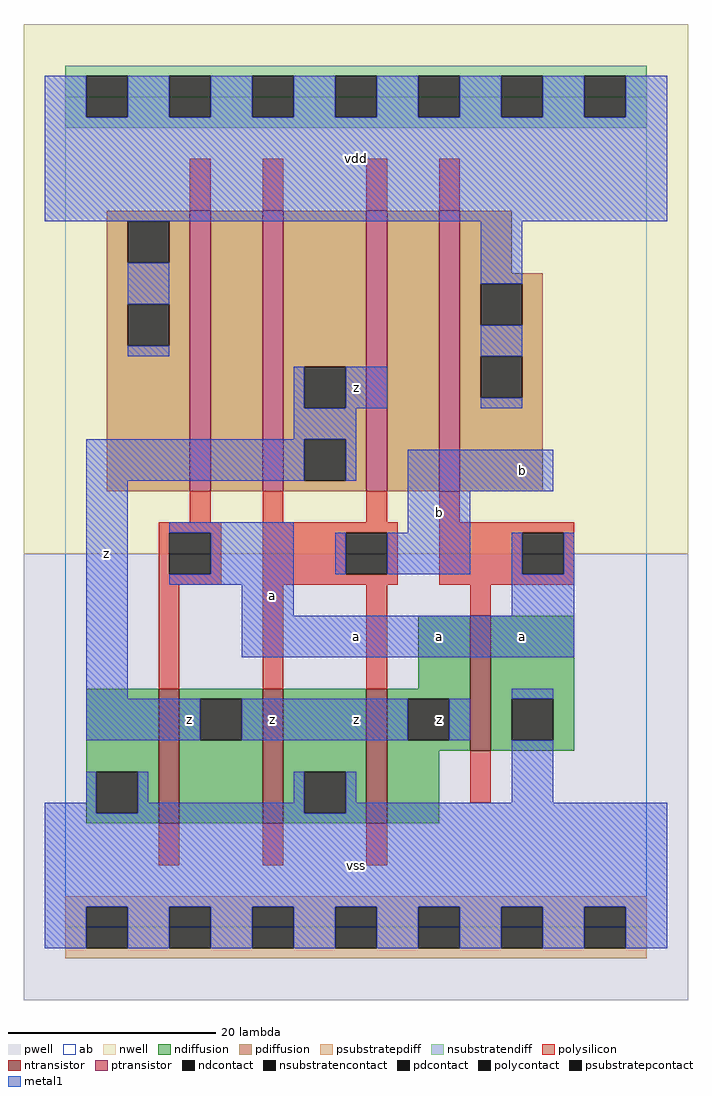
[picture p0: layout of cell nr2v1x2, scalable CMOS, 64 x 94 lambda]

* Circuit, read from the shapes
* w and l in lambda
.subckt nr2v1x2 a b vdd vss z
M1 z a vss vss nfet w=13 l=2 m=2
M2 vss b z vss nfet w=13 l=2 m=2
M3 n1 a vdd vdd pfet w=27 l=2
M4 z b n1 vdd pfet w=27 l=2
M5 n2 b z vdd pfet w=27 l=2
M6 vdd a n2 vdd pfet w=27 l=2
.ends

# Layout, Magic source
magic
tech scmos
<< ab >>
rect 0 0 56 80
<< pwell >>
rect -4 -7 60 36
<< nwell >>
rect -4 36 60 87
<< polysilicon >>
rect 12 69 14 74
rect 19 69 21 74
rect 29 69 31 74
rect 36 69 38 74
rect 12 39 14 42
rect 19 39 21 42
rect 29 39 31 42
rect 36 39 38 42
rect 9 38 15 39
rect 9 34 10 38
rect 14 34 15 38
rect 9 33 15 34
rect 19 38 32 39
rect 19 34 27 38
rect 31 34 32 38
rect 19 33 32 34
rect 36 38 49 39
rect 36 34 44 38
rect 48 34 49 38
rect 36 33 49 34
rect 9 23 11 33
rect 19 23 21 33
rect 29 23 31 33
rect 39 30 41 33
rect 39 12 41 17
rect 9 6 11 10
rect 19 6 21 10
rect 29 6 31 10
<< ndiffusion >>
rect 34 23 39 30
rect 2 15 9 23
rect 2 11 3 15
rect 7 11 9 15
rect 2 10 9 11
rect 11 22 19 23
rect 11 18 13 22
rect 17 18 19 22
rect 11 10 19 18
rect 21 15 29 23
rect 21 11 23 15
rect 27 11 29 15
rect 21 10 29 11
rect 31 22 39 23
rect 31 18 33 22
rect 37 18 39 22
rect 31 17 39 18
rect 41 22 49 30
rect 41 18 43 22
rect 47 18 49 22
rect 41 17 49 18
rect 31 10 36 17
<< pdiffusion >>
rect 4 68 12 69
rect 4 64 6 68
rect 10 64 12 68
rect 4 60 12 64
rect 4 56 6 60
rect 10 56 12 60
rect 4 42 12 56
rect 14 42 19 69
rect 21 54 29 69
rect 21 50 23 54
rect 27 50 29 54
rect 21 47 29 50
rect 21 43 23 47
rect 27 43 29 47
rect 21 42 29 43
rect 31 42 36 69
rect 38 63 43 69
rect 38 62 46 63
rect 38 58 40 62
rect 44 58 46 62
rect 38 55 46 58
rect 38 51 40 55
rect 44 51 46 55
rect 38 42 46 51
<< metal1 >>
rect -2 78 2 82
rect 6 78 10 82
rect 14 78 18 82
rect 22 78 26 82
rect 30 78 34 82
rect 38 78 42 82
rect 46 78 50 82
rect 54 78 58 82
rect -2 68 58 78
rect 6 60 10 64
rect 6 55 10 56
rect 40 62 44 68
rect 40 55 44 58
rect 22 50 23 54
rect 27 50 31 54
rect 40 50 44 51
rect 22 47 28 50
rect 2 43 23 47
rect 27 43 28 47
rect 2 22 6 43
rect 33 42 47 46
rect 10 38 22 39
rect 33 38 39 42
rect 14 34 22 38
rect 26 34 27 38
rect 31 34 39 38
rect 43 34 44 38
rect 48 34 49 38
rect 10 33 22 34
rect 17 30 22 33
rect 43 30 49 34
rect 17 26 49 30
rect 43 22 47 23
rect 2 18 13 22
rect 17 18 33 22
rect 37 18 39 22
rect 2 12 3 15
rect -2 11 3 12
rect 7 12 8 15
rect 22 12 23 15
rect 7 11 23 12
rect 27 12 28 15
rect 43 12 47 18
rect 27 11 58 12
rect -2 2 58 11
rect -2 -2 2 2
rect 6 -2 10 2
rect 14 -2 18 2
rect 22 -2 26 2
rect 30 -2 34 2
rect 38 -2 42 2
rect 46 -2 50 2
rect 54 -2 58 2
<< ntransistor >>
rect 9 10 11 23
rect 19 10 21 23
rect 29 10 31 23
rect 39 17 41 30
<< ptransistor >>
rect 12 42 14 69
rect 19 42 21 69
rect 29 42 31 69
rect 36 42 38 69
<< polycontact >>
rect 10 34 14 38
rect 27 34 31 38
rect 44 34 48 38
<< ndcontact >>
rect 3 11 7 15
rect 13 18 17 22
rect 23 11 27 15
rect 33 18 37 22
rect 43 18 47 22
<< pdcontact >>
rect 6 64 10 68
rect 6 56 10 60
rect 23 50 27 54
rect 23 43 27 47
rect 40 58 44 62
rect 40 51 44 55
<< psubstratepcontact >>
rect 2 -2 6 2
rect 10 -2 14 2
rect 18 -2 22 2
rect 26 -2 30 2
rect 34 -2 38 2
rect 42 -2 46 2
rect 50 -2 54 2
<< nsubstratencontact >>
rect 2 78 6 82
rect 10 78 14 82
rect 18 78 22 82
rect 26 78 30 82
rect 34 78 38 82
rect 42 78 46 82
rect 50 78 54 82
<< psubstratepdiff >>
rect 0 2 56 3
rect 0 -2 2 2
rect 6 -2 10 2
rect 14 -2 18 2
rect 22 -2 26 2
rect 30 -2 34 2
rect 38 -2 42 2
rect 46 -2 50 2
rect 54 -2 56 2
rect 0 -3 56 -2
<< nsubstratendiff >>
rect 0 82 56 83
rect 0 78 2 82
rect 6 78 10 82
rect 14 78 18 82
rect 22 78 26 82
rect 30 78 34 82
rect 38 78 42 82
rect 46 78 50 82
rect 54 78 56 82
rect 0 77 56 78
<< labels >>
rlabel metal1 4 36 4 36 6 z
rlabel metal1 12 20 12 20 6 z
rlabel metal1 28 6 28 6 6 vss
rlabel metal1 20 20 20 20 6 z
rlabel metal1 28 28 28 28 6 a
rlabel metal1 28 20 28 20 6 z
rlabel metal1 20 32 20 32 6 a
rlabel metal1 28 52 28 52 6 z
rlabel metal1 28 74 28 74 6 vdd
rlabel ndcontact 36 20 36 20 6 z
rlabel metal1 36 28 36 28 6 a
rlabel metal1 44 28 44 28 6 a
rlabel metal1 36 40 36 40 6 b
rlabel metal1 44 44 44 44 6 b
<< end >>
